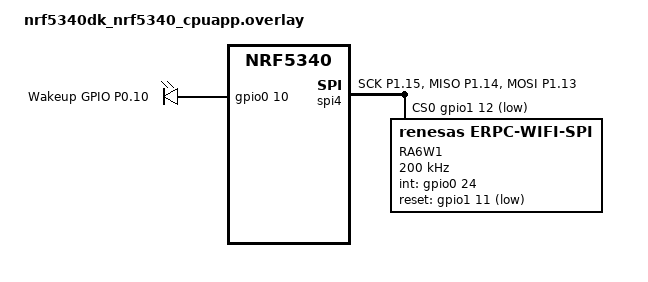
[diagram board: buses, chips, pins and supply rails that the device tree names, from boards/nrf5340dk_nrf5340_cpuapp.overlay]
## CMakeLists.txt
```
cmake_minimum_required(VERSION 3.20.0)

find_package(Zephyr)
project(pnet_shell)

target_sources(app PRIVATE src/pnet.c)
```

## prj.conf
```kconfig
# Copyright (c) 2025 Renesas Electronics Corporation
# SPDX-License-Identifier: Apache-2.0

CONFIG_POSIX_API=y
CONFIG_EVENTS=y

# GPIO Configuration
CONFIG_GPIO=y

# Wi-Fi Configuration
CONFIG_WIFI=y
CONFIG_REBOOT=y
CONFIG_SHELL=y
CONFIG_SHELL_STACK_SIZE=10240

CONFIG_HEAP_MEM_POOL_SIZE=65536
CONFIG_INIT_STACKS=y
CONFIG_THREAD_STACK_INFO=y
CONFIG_STACK_CANARIES=y
CONFIG_SPIN_VALIDATE=n
# Synchronous getaddrinfo() uses this as its DNS query timeout. The default
# (2000 ms) is too short for a DPM cold-wake + eRPC/SPI + network round-trip
# (~2.4 s), which cancels the in-flight query (DNS_EAI_CANCELED = -101) just
# before the reply arrives. Give it enough budget to cover the cold wake.
CONFIG_NET_SOCKETS_DNS_TIMEOUT=10000
# Retry within that budget instead of a single long attempt.
CONFIG_NET_SOCKETS_DNS_BACKOFF_INTERVAL=5000
 
# Network Configuration
CONFIG_NETWORKING=y
CONFIG_NET_NATIVE=y
CONFIG_NET_IPV4=y
CONFIG_NET_IPV6=n
CONFIG_NET_TCP=y
CONFIG_NET_DHCPV4=y
CONFIG_DNS_RESOLVER=y
CONFIG_NET_CONFIG_SETTINGS=y
CONFIG_NET_CONFIG_AUTO_INIT=n

# Network management
CONFIG_NET_MGMT=y
CONFIG_NET_MGMT_EVENT=y
CONFIG_NET_MGMT_EVENT_INFO=y
CONFIG_NET_MGMT_EVENT_QUEUE_SIZE=10
CONFIG_NET_MGMT_EVENT_STACK_SIZE=4096
CONFIG_NET_CONNECTION_MANAGER=y

CONFIG_MAIN_STACK_SIZE=10240
CONFIG_SYSTEM_WORKQUEUE_STACK_SIZE=10240
CONFIG_WIFI_ERPC_WIFI_WORKQ_STACK_SIZE=8192
CONFIG_WIFI_ERPC_WIFI_SERVER_THREAD_STACK_SIZE=8192
CONFIG_NET_SOCKETS_SERVICE_STACK_SIZE=4096

# Network buffers
CONFIG_NET_PKT_RX_COUNT=8
CONFIG_NET_PKT_TX_COUNT=8

# L2 drivers
CONFIG_NET_L2_ETHERNET=y
CONFIG_NET_L2_WIFI_MGMT=y

# LOG — immediate mode has no buffer/thread so LOG_BUFFER_SIZE
# and LOG_PROCESS_THREAD_STACK_SIZE do not exist here.
# NET/SOCKET/KERNEL kept at WRN to avoid flooding UART and
# hiding the poll-task printks that appear before the crash.
CONFIG_LOG=y
CONFIG_LOG_MODE_IMMEDIATE=n
CONFIG_NET_LOG=n
CONFIG_WIFI_LOG_LEVEL_DBG=n
CONFIG_NET_SOCKETS_LOG_LEVEL_DBG=n
CONFIG_NET_L2_WIFI_MGMT_LOG_LEVEL_DBG=n
CONFIG_KERNEL_LOG_LEVEL_WRN=y
CONFIG_THREAD_LOCAL_STORAGE=n

# HTTPS bring-up: driver at INF. mbedTLS stays at ERR because LOG_MODE_IMMEDIATE
# makes every DBG hexdump line a synchronous UART write from the TLS thread,
# which stretched a working handshake to 21 s and tripped the HTTP timeout.
# Set MBEDTLS_DEBUG=y + MBEDTLS_LOG_LEVEL_DBG=y only to capture an alert code.
# Setting the DBG and INF choices to "n" does NOT select a level - it just
# leaves CONFIG_WIFI_LOG_LEVEL at the Zephyr default (INF), which compiles in
# all 74 LOG_INF calls in the driver and floods the console again.  WRN must be
# selected explicitly.  The four latency-measurement lines (CMD exec
# start/done, PS sleep armed/deferred) are LOG_WRN so they survive here.
CONFIG_WIFI_LOG_LEVEL_WRN=y
CONFIG_MBEDTLS_LOG_LEVEL_ERR=n
# One UART backend is enough; the shell backend duplicated every line.
CONFIG_SHELL_LOG_BACKEND=n
# ===========================================================
# MPU / FAULT DEBUG — verified buildable on nRF5340 Zephyr 4.2
# ===========================================================

# Full register + MPU fault reason on crash
CONFIG_FAULT_DUMP=2

# Hardware MPU guard page at stack bottom (catches stack overflow)
# NOTE: STACK_SENTINEL conflicts with MPU_STACK_GUARD — do not add it
CONFIG_MPU_STACK_GUARD=y
CONFIG_HW_STACK_PROTECTION=y

# Thread name + stack bounds printed in the fault dump
CONFIG_THREAD_NAME=y
CONFIG_THREAD_MONITOR=y
CONFIG_DEBUG_THREAD_INFO=y

# Catch NULL / bad-state in kernel before it reaches the MPU
CONFIG_ASSERT=y
CONFIG_ASSERT_LEVEL=2
CONFIG_ASSERT_VERBOSE=y

# Keep debug symbols — required for addr2line to give file+line
# REMOVE this after the bug is fixed (increases binary size)
# CONFIG_DEBUG_OPTIMIZATIONS=y

# Heap stats — reveals if heap returned NULL causing the deref
CONFIG_SYS_HEAP_RUNTIME_STATS=y

# NOTE: EXCEPTION_STACK_TRACE, ARM_UNWIND, COREDUMP are all
# unavailable in Zephyr 4.2.99 for nRF5340. Use addr2line instead
# (see instructions below the conf file).

CONFIG_NET_ZPERF=y
CONFIG_NET_ZPERF_SERVER=y
CONFIG_NET_ZPERF_MAX_PACKET_SIZE=2048
CONFIG_NET_UDP=y
CONFIG_NET_SOCKETS=y
CONFIG_NET_SHELL=y
CONFIG_ZVFS_POLL_MAX=10
CONFIG_ZVFS_OPEN_MAX=12

# MQTT / TLS
CONFIG_MQTT_LIB=y
CONFIG_MQTT_LIB_TLS=y
CONFIG_TLS_CREDENTIALS=y
CONFIG_NET_SOCKETS_SOCKOPT_TLS=y
CONFIG_MBEDTLS=y
 
# PEM certificate support
CONFIG_MBEDTLS_PEM_CERTIFICATE_FORMAT=y
 
# mbedTLS heap — must be large enough for ECDHE-ECDSA TLS handshake (~16 KB
# minimum; 32 KB gives comfortable headroom for certificate chain parsing).
CONFIG_MBEDTLS_ENABLE_HEAP=y
CONFIG_MBEDTLS_HEAP_SIZE=32768
 
# EC / ECDSA cipher suite support
# CA, broker cert, client cert and private key are all EC P-256 (ECDSA).
CONFIG_MBEDTLS_ECP_C=y
CONFIG_MBEDTLS_ECDH_C=y
CONFIG_MBEDTLS_ECDSA_C=y
CONFIG_MBEDTLS_ECP_DP_SECP256R1_ENABLED=y
CONFIG_MBEDTLS_KEY_EXCHANGE_ECDHE_ECDSA_ENABLED=y
# The HTTPS provisioning server may present an RSA certificate. Without these
# the only compiled-in suite is ECDHE-ECDSA and the server aborts with alert 40.
CONFIG_MBEDTLS_RSA_C=y
CONFIG_MBEDTLS_KEY_EXCHANGE_ECDHE_RSA_ENABLED=y
# Common cipher / hash primitives
CONFIG_MBEDTLS_CIPHER_AES_ENABLED=y
CONFIG_MBEDTLS_CIPHER_GCM_ENABLED=y
CONFIG_MBEDTLS_SHA256=y
CONFIG_MBEDTLS_SHA384=y
# TLS record buffer — 2 KB is sufficient for MQTT payloads over TLS.
CONFIG_MBEDTLS_SSL_MAX_CONTENT_LEN=2048

CONFIG_TEST_RANDOM_GENERATOR=y
# CONFIG_MAIN_STACK_SIZE=4096
# CONFIG_MAIN_STACK_SIZE=6144
CONFIG_MAIN_STACK_SIZE=4096

CONFIG_SHELL=y
CONFIG_SERIAL=y
CONFIG_CONSOLE=y
CONFIG_UART_CONSOLE=y
CONFIG_PRINTK=y
CONFIG_LOG=y
CONFIG_LOG_BACKEND_UART=y
# REMOVED: a duplicate CONFIG_LOG_MODE_IMMEDIATE=y lived here.  Kconfig takes
# the LAST assignment in a .conf, so it silently overrode the "=n" set above
# and put the build back into blocking-UART logging - the exact thing that
# made the console unusable and added ~570 ms to every command.  Do not re-add.

# CONFIG_SHELL_STACK_SIZE=6144
CONFIG_SHELL_STACK_SIZE=5120



# # Enable Device PM to suspend Nordic SPIM EasyDMA during DPM
# CONFIG_PM_DEVICE=y
# CONFIG_PM_DEVICE_RUNTIME=y

CONFIG_HTTP_CLIENT=y
# REMOVED: CONFIG_WIFI_ERPC_WAKE_MAX_ATTEMPTS=10
# That symbol does not exist.  It is not in Kconfig.erpc_wifi and no driver
# source references it, so Kconfig aborted the build:
#   prj.conf:190: warning: attempt to assign the value '10' to the undefined
#   symbol WIFI_ERPC_WAKE_MAX_ATTEMPTS
#   error: Aborting due to Kconfig warnings
# The real wake knob is CONFIG_WIFI_ERPC_WAKE_TIMEOUT_MS (default 3000).


# eRPC data path - must match the RA6W1 server build (CONFIG_DATA_PATH=1).
CONFIG_ERPC_DATA_PATH=y
CONFIG_WIFI_ERPC_SPI_DUPLEX=y
CONFIG_ENTROPY_GENERATOR=y
CONFIG_WIFI_LOG_LEVEL_INF=y
CONFIG_WIFI_ERPC_DPM_TCP_RESPONSE_HOLD_MS=200
CONFIG_WIFI_ERPC_WAKE_SETTLE_MS=0
CONFIG_WIFI_ERPC_PS_MIN_IDLE_MS=50
CONFIG_WIFI_ERPC_SKIP_TX_WAKE_BLOCK_SLEEP=y
CONFIG_WIFI_ERPC_DPM_TCP_RX_SETTLE_MS=200
CONFIG_WIFI_ERPC_SPI_POST_WAKE_MS=15
CONFIG_WIFI_ERPC_PS_RX_WAKE_HOLD_MS=100
```

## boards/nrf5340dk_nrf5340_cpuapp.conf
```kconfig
CONFIG_TEST_RANDOM_GENERATOR=y
CONFIG_MAIN_STACK_SIZE=4096

CONFIG_SHELL=y
CONFIG_SERIAL=y
CONFIG_CONSOLE=y
CONFIG_UART_CONSOLE=y
CONFIG_PRINTK=y
CONFIG_LOG=y
CONFIG_LOG_BACKEND_UART=y
CONFIG_LOG_MODE_IMMEDIATE=y

# # Enable Device PM to suspend Nordic SPIM EasyDMA during DPM
# CONFIG_PM_DEVICE=y
# CONFIG_PM_DEVICE_RUNTIME=y
```

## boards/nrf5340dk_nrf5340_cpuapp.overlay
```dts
/*
 * Copyright (c) 2025 Renesas Electronics Corporation
 *
 * SPDX-License-Identifier: Apache-2.0
 */

/delete-node/ &qspi;
/delete-node/ &uart1;

/* Disable NFC so P0.09 and P0.10 can be used as GPIOs */
&nfct {
    status = "disabled";
};

/ {
    chosen {
        /delete-property/ zephyr,wifi;
	};

    aliases {
        wakeup-gpio = &gpio_wakeup;
    };

    gpio_wakeup {
        compatible = "gpio-leds";
        gpio_wakeup: wakeup_gpio {
           gpios = <&gpio0 10 (GPIO_ACTIVE_HIGH | GPIO_PULL_DOWN)>;
            label = "Wakeup GPIO P0.10";
        };
    };
};

&pinctrl {
    spi4_default: spi4_default {
        group1 {
            psels = <NRF_PSEL(SPIM_SCK, 1, 15)>,
                    <NRF_PSEL(SPIM_MISO, 1, 14)>,
                    <NRF_PSEL(SPIM_MOSI, 1, 13)>;
       
        };
    };
    spi4_sleep: spi4_sleep {
        group1 {
            psels = <NRF_PSEL(SPIM_SCK, 1, 15)>,
                    <NRF_PSEL(SPIM_MISO, 1, 14)>,
                    <NRF_PSEL(SPIM_MOSI, 1, 13)>;
           
            low-power-enable;
        };
    };
};

&spi4 {
    compatible = "nordic,nrf-spim";
    status = "okay";
    cs-gpios = <&gpio1 12 (GPIO_ACTIVE_LOW)>;
 
    pinctrl-0 = <&spi4_default>;
    pinctrl-1 = <&spi4_sleep>;
    pinctrl-names = "default", "sleep";
 
    ra6w1_erpc_wifi: ra6w1_erpc_wifi@0 {
        compatible = "renesas,erpc-wifi-spi";
        reg = <0>;
        label = "RA6W1";
        spi-max-frequency = <200000>;
        boot-duration-ms = <2000>;
        int-gpios = <&gpio0 24 (GPIO_ACTIVE_HIGH | GPIO_PULL_DOWN)>;
        reset-gpios = <&gpio1 11 GPIO_ACTIVE_LOW>;
        status = "okay";
    };
};
```

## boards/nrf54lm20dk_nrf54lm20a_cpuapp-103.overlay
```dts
/*
 * Copyright (c) 2025 Renesas Electronics Corporation
 *
 * SPDX-License-Identifier: Apache-2.0
 */

/ {
    chosen {
        /delete-property/ zephyr,wifi;
	};

    aliases {
        wakeup-gpio = &gpio_wakeup;
    };

    gpio_wakeup {
        compatible = "gpio-leds";
        gpio_wakeup: wakeup_gpio {
           gpios = <&gpio0 3 (GPIO_ACTIVE_HIGH | GPIO_PULL_DOWN)>;
            label = "Wakeup GPIO P0.03";
        };
    };
};

&pinctrl {
    spi22_default: spi22_default {
        group1 {
            psels = <NRF_PSEL(SPIM_SCK, 1, 15)>,
                    <NRF_PSEL(SPIM_MISO, 1, 14)>,
                    <NRF_PSEL(SPIM_MOSI, 1, 13)>;
       
        };
    };
    spi22_sleep: spi22_sleep {
        group1 {
            psels = <NRF_PSEL(SPIM_SCK, 1, 15)>,
                    <NRF_PSEL(SPIM_MISO, 1, 14)>,
                    <NRF_PSEL(SPIM_MOSI, 1, 13)>;
           
            low-power-enable;
        };
    };
};

&spi22 {
    compatible = "nordic,nrf-spim";
    status = "okay";
    cs-gpios = <&gpio1 12 (GPIO_ACTIVE_LOW)>;
 
    pinctrl-0 = <&spi22_default>;
    pinctrl-1 = <&spi22_sleep>;
    pinctrl-names = "default", "sleep";
 
    ra6w1_erpc_wifi: ra6w1_erpc_wifi@0 {
        compatible = "renesas,erpc-wifi-spi";
        reg = <0>;
        label = "RA6W1";
        spi-max-frequency = <200000>;
        boot-duration-ms = <2000>;
        int-gpios = <&gpio1 10 (GPIO_ACTIVE_HIGH | GPIO_PULL_DOWN)>;
        reset-gpios = <&gpio1 11 GPIO_ACTIVE_LOW>;
        status = "okay";
    };
};
```

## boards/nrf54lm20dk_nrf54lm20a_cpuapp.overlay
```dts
/*
 * Copyright (c) 2025 Renesas Electronics Corporation
 *
 * SPDX-License-Identifier: Apache-2.0
 */

/ {
    chosen {
        /delete-property/ zephyr,wifi;
	};

};

&pinctrl {
    spi22_default: spi22_default {
        group1 {
            psels = <NRF_PSEL(SPIM_SCK, 1, 15)>,
                    <NRF_PSEL(SPIM_MISO, 1, 14)>,
                    <NRF_PSEL(SPIM_MOSI, 1, 13)>;
       
        };
    };
    spi22_sleep: spi22_sleep {
        group1 {
            psels = <NRF_PSEL(SPIM_SCK, 1, 15)>,
                    <NRF_PSEL(SPIM_MISO, 1, 14)>,
                    <NRF_PSEL(SPIM_MOSI, 1, 13)>;
           
            low-power-enable;
        };
    };
};

&spi22 {
    compatible = "nordic,nrf-spim";
    status = "okay";
    cs-gpios = <&gpio1 12 (GPIO_ACTIVE_LOW)>;
 
    pinctrl-0 = <&spi22_default>;
    pinctrl-1 = <&spi22_sleep>;
    pinctrl-names = "default", "sleep";
 
    ra6w1_erpc_wifi: ra6w1_erpc_wifi@0 {
        compatible = "renesas,erpc-wifi-spi";
        reg = <0>;
        label = "RA6W1";
        spi-max-frequency = <200000>;
        boot-duration-ms = <3>;
        reset-assert-duration-ms = <3>;
        int-gpios = <&gpio1 10 (GPIO_ACTIVE_HIGH | GPIO_PULL_DOWN)>;
        reset-gpios = <&gpio1 11 GPIO_ACTIVE_LOW>;
        wakeup-gpios = <&gpio0 3 GPIO_ACTIVE_HIGH>;
        status = "okay";
    };
};
```

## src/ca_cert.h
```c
/*
 * ca_cert.h — CA certificate for MQTT TLS (port 8883)
 *
 * This is the CA certificate for test.mosquitto.org.
 * Source: https://test.mosquitto.org/ssl/mosquitto.org.crt
 *
 * To use a different broker, replace the PEM string below with your
 * broker's CA certificate in PEM format.
 */

#ifndef CA_CERT_H
#define CA_CERT_H

/* ================= Root CA ================= */
 
#define ROOT_CA \
"-----BEGIN CERTIFICATE-----\n" \
"MIICnDCCAkGgAwIBAgIJAM0wYdY5quqFMAoGCCqGSM49BAMCMGkxCzAJBgNVBAYT\n" \
"AktSMQ4wDAYDVQQIDAVTZW91bDEOMAwGA1UEBwwFU2VvdWwxEDAOBgNVBAoMB1Jl\n" \
"bmVzYXMxDTALBgNVBAsMBElJQlUxGTAXBgNVBAMMEFJvb3QgQ2VydGlmaWNhdGUw\n" \
"HhcNMjMwMzIzMDQwMTQwWhcNMzMwMzIwMDQwMTQwWjBpMQswCQYDVQQGEwJLUjEO\n" \
"MAwGA1UECAwFU2VvdWwxDjAMBgNVBAcMBVNlb3VsMRAwDgYDVQQKDAdSZW5lc2Fz\n" \
"MQ0wCwYDVQQLDARJSUJVMRkwFwYDVQQDDBBSb290IENlcnRpZmljYXRlMFkwEwYH\n" \
"KoZIzj0CAQYIKoZIzj0DAQcDQgAEqihf28i8BY434sE9V+fhS6S94hZpUKJAcuBr\n" \
"ZTZcKyE/PjvJmqSyWf5FvkeY49doR+9rCgaK5fDmn6aD+TgFu6OB0TCBzjAPBgNV\n" \
"HRMBAf8EBTADAQH/MB0GA1UdDgQWBBTuwab2GUr6mZBGAp41AqSZtp/hhjCBmwYD\n" \
"VR0jBIGTMIGQgBTuwab2GUr6mZBGAp41AqSZtp/hhqFtpGswaTELMAkGA1UEBhMC\n" \
"S1IxDjAMBgNVBAgMBVNlb3VsMQ4wDAYDVQQHDAVTZW91bDEQMA4GA1UECgwHUmVu\n" \
"ZXNhczENMAsGA1UECwwESUlCVTEZMBcGA1UEAwwQUm9vdCBDZXJ0aWZpY2F0ZYIJ\n" \
"AM0wYdY5quqFMAoGCCqGSM49BAMCA0kAMEYCIQDEgggVYtQtcM1RlHm2bvduDF+Y\n" \
"yAZAChjgyY3Ilm0OlwIhAPSJYYtLHyPeDMwenXMDk5dcll1ZLQZqfcubGHq2YA9n\n" \
"-----END CERTIFICATE-----\n"
 
 
/* ================= Client Certificate ================= */
 
#define CLIENT_CERT \
"-----BEGIN CERTIFICATE-----\n" \
"MIICoTCCAkigAwIBAgIJALrAHEerhG8bMAoGCCqGSM49BAMCMGkxCzAJBgNVBAYT\n" \
"AktSMQ4wDAYDVQQIDAVTZW91bDEOMAwGA1UEBwwFU2VvdWwxEDAOBgNVBAoMB1Jl\n" \
"bmVzYXMxDTALBgNVBAsMBElJQlUxGTAXBgNVBAMMEFJvb3QgQ2VydGlmaWNhdGUw\n" \
"HhcNMjMwMzIzMDQwMTQ5WhcNMzMwMzIwMDQwMTQ5WjBzMQswCQYDVQQGEwJLUjES\n" \
"MBAGA1UECAwJU29tZXdoZXJlMRIwEAYDVQQHDAlTb21ld2hlcmUxEDAOBgNVBAoM\n" \
"B1JlbmVzYXMxDTALBgNVBAsMBElJQlUxGzAZBgNVBAMMEkNsaWVudCBDZXJ0aWZp\n" \
"Y2F0ZTBZMBMGByqGSM49AgEGCCqGSM49AwEHA0IABElgzxeL2s4JemIC0n32Yrng\n" \
"cmCq/XwRCMGri1ZNDbnhRyNaHfclRwhEGWKiP64bTuq3HXb5yB0dQ5mp+5vHbh2j\n" \
"gc4wgcswDAYDVR0TAQH/BAIwADAdBgNVHQ4EFgQUHrDENetRTmSpJKQ3T9mHew4f\n" \
"geUwgZsGA1UdIwSBkzCBkIAU7sGm9hlK+pmQRgKeNQKkmbaf4YahbaRrMGkxCzAJ\n" \
"BgNVBAYTAktSMQ4wDAYDVQQIDAVTZW91bDEOMAwGA1UEBwwFU2VvdWwxEDAOBgNV\n" \
"BAoMB1JlbmVzYXMxDTALBgNVBAsMBElJQlUxGTAXBgNVBAMMEFJvb3QgQ2VydGlm\n" \
"aWNhdGWCCQDNMGHWOarqhTAKBggqhkjOPQQDAgNHADBEAiB+zugK0WO7rmMCDxjO\n" \
"ig4kkvocIw1I21oV9btCs79j6AIgfdh9ssnstpVncHwHvteGCscId77lWvShjCsU\n" \
"DhCTJGA=\n" \
"-----END CERTIFICATE-----\n"
 
 
/* ================= Private Key ================= */
 
#define PRIVATE_KEY \
"-----BEGIN EC PRIVATE KEY-----\n" \
"MHcCAQEEIJ5J12YmRrEzGKrkX08/QEPpJTgE74VIqs9rh6mtPf4poAoGCCqGSM49\n" \
"AwEHoUQDQgAESWDPF4vazgl6YgLSffZiueByYKr9fBEIwauLVk0NueFHI1od9yVH\n" \
"CEQZYqI/rhtO6rcddvnIHR1Dman7m8duHQ==\n" \
"-----END EC PRIVATE KEY-----\n"

/* Compatibility symbols used by pnet_mqtt.c tls_credential_add() calls.
 * All three credentials are always registered because this is a mutual TLS
 * (mTLS) setup: ROOT_CA verifies the broker, CLIENT_CERT + PRIVATE_KEY
 * identify the device to the broker.
 */
static const unsigned char ca_pem[]            = ROOT_CA;
static const unsigned int  ca_pem_len          = sizeof(ca_pem);

static const unsigned char client_cert_pem[]   = CLIENT_CERT;
static const unsigned int  client_cert_pem_len = sizeof(client_cert_pem);

static const unsigned char private_key_pem[]   = PRIVATE_KEY;
static const unsigned int  private_key_pem_len = sizeof(private_key_pem);

#endif /* CA_CERT_H */
```
